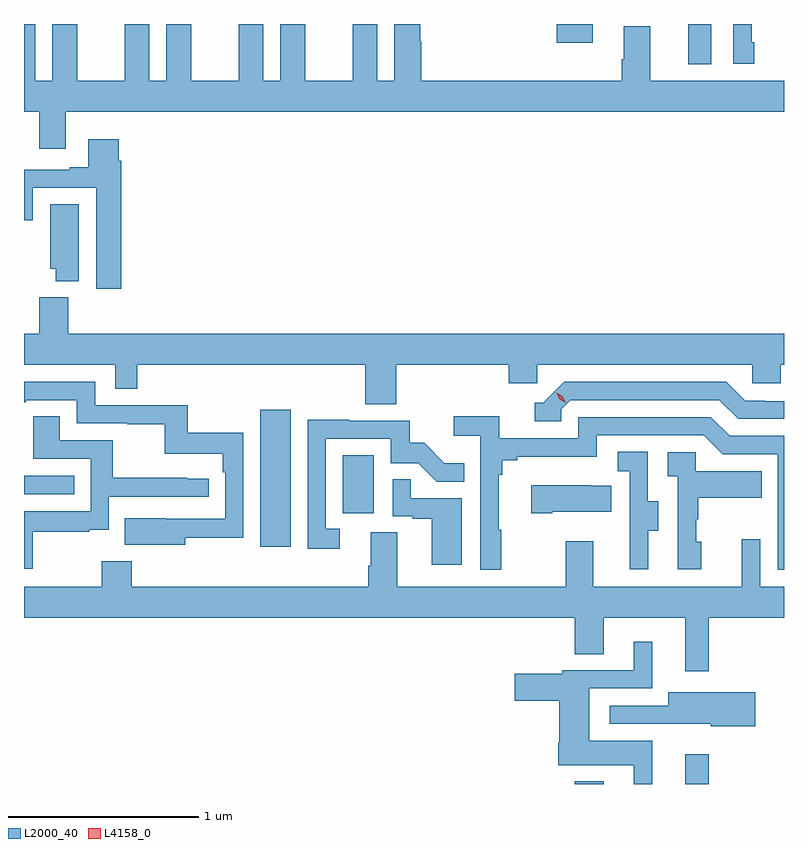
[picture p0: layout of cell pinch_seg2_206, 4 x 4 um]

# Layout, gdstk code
import gdstk
lib = gdstk.Library(unit=1e-6, precision=1e-09)
def R(c, l, rs):  # rectangles x0, y0, x1, y1
    for r in rs: c.add(gdstk.rectangle(r[:2], r[2:], *l))
def P(c, l, *ps):  # polygons
    for p in ps: c.add(gdstk.Polygon(p, *l))
L2000_40 = (2000, 40)
L4158_0 = (4158, 0)

pinch_seg2_206 = lib.new_cell('pinch_seg2_206')
R(pinch_seg2_206, L2000_40, [(976.397,653.422,976.549,653.437), (976.979,653.422,977.101,653.578), (974.741,654.672,974.902,655.393), (975.176,654.846,975.34,655.153), (973.498,654.948,973.763,655.044), (976.994,657.209,977.116,657.422), (976.303,657.324,976.492,657.422)])
P(pinch_seg2_206, L2000_40, [(973.717,656.96),(977.498,656.96),(977.498,657.124),(976.795,657.124),(976.795,657.41),(976.655,657.41),(976.655,657.236),(976.643,657.236),(976.643,657.124),(975.59,657.124),(975.59,657.329),(975.583,657.329),(975.583,657.422),(975.446,657.422),(975.446,657.124),(975.358,657.124),(975.358,657.422),(975.227,657.422),(975.227,657.124),(974.977,657.124),(974.977,657.422),(974.846,657.422),(974.846,657.124),(974.758,657.124),(974.758,657.422),(974.627,657.422),(974.627,657.124),(974.377,657.124),(974.377,657.422),(974.246,657.422),(974.246,657.124),(974.158,657.124),(974.158,657.422),(974.027,657.422),(974.027,657.124),(973.777,657.124),(973.777,657.422),(973.646,657.422),(973.646,657.124),(973.558,657.124),(973.558,657.422),(973.498,657.422),(973.498,656.96),(973.577,656.96),(973.577,656.766),(973.717,656.766)],
  [(977.341,657.325),(977.328,657.325),(977.328,657.422),(977.232,657.422),(977.232,657.213),(977.341,657.213)],
  [(974.009,656.702),(973.996,656.702),(973.996,656.815),(973.835,656.815),(973.835,656.668),(973.739,656.668),(973.739,656.655),(973.498,656.655),(973.498,656.388),(973.543,656.388),(973.543,656.559),(973.877,656.559),(973.877,656.028),(974.009,656.028)],
  [(973.786,656.474),(973.637,656.474),(973.637,656.133),(973.664,656.133),(973.664,656.069),(973.786,656.069)],
  [(975.458,655.628),(976.049,655.628),(976.049,655.53),(976.2,655.53),(976.2,655.628),(977.331,655.628),(977.331,655.53),(977.481,655.53),(977.481,655.628),(977.498,655.628),(977.498,655.792),(973.73,655.792),(973.73,655.984),(973.577,655.984),(973.577,655.792),(973.498,655.792),(973.498,655.628),(973.977,655.628),(973.977,655.501),(974.093,655.501),(974.093,655.628),(975.293,655.628),(975.293,655.42),(975.458,655.42)],
  [(976.326,655.395),(976.374,655.443),(977.157,655.443),(977.256,655.344),(977.498,655.344),(977.498,655.437),(977.4,655.437),(977.4,655.44),(977.293,655.44),(977.194,655.539),(976.341,655.539),(976.23,655.428),(976.187,655.428),(976.187,655.332),(976.326,655.332)],
  [(974.347,654.718),(974.652,654.718),(974.652,655.27),(974.359,655.27),(974.359,655.416),(973.872,655.416),(973.872,655.539),(973.498,655.539),(973.498,655.431),(973.507,655.431),(973.507,655.443),(973.776,655.443),(973.776,655.32),(974.041,655.32),(974.041,655.315),(974.238,655.315),(974.238,655.16),(974.543,655.16),(974.543,655.064),(974.556,655.064),(974.556,654.819),(974.243,654.819),(974.243,654.82),(974.029,654.82),(974.029,654.68),(974.347,654.68)],
  [(976.009,654.761),(975.997,654.761),(975.997,655.049),(976.016,655.049),(976.016,655.126),(976.093,655.126),(976.093,655.145),(976.512,655.145),(976.512,655.257),(977.076,655.257),(977.175,655.158),(977.466,655.158),(977.466,654.549),(977.498,654.549),(977.498,655.254),(977.212,655.254),(977.113,655.353),(976.416,655.353),(976.416,655.242),(975.998,655.242),(975.998,655.358),(975.759,655.358),(975.759,655.256),(975.9,655.256),(975.9,654.549),(976.009,654.549)],
  [(973.543,654.75),(973.841,654.75),(973.841,654.761),(973.944,654.761),(973.944,654.933),(974.47,654.933),(974.47,655.029),(974.357,655.029),(974.357,655.034),(973.964,655.034),(973.964,655.23),(973.687,655.23),(973.687,655.358),(973.547,655.358),(973.547,655.134),(973.848,655.134),(973.848,654.858),(973.498,654.858),(973.498,654.555),(973.543,654.555)],
  [(975.16,654.765),(975.087,654.765),(975.087,655.239),(975.429,655.239),(975.429,655.11),(975.573,655.11),(975.671,655.012),(975.815,655.012),(975.815,655.111),(975.711,655.111),(975.604,655.218),(975.528,655.218),(975.528,655.335),(975.209,655.335),(975.209,655.34),(974.991,655.34),(974.991,654.66),(975.16,654.66)],
  [(976.783,654.754),(976.837,654.754),(976.837,654.909),(976.782,654.909),(976.782,655.172),(976.623,655.172),(976.623,655.069),(976.686,655.069),(976.686,654.765),(976.685,654.765),(976.685,654.552),(976.783,654.552)],
  [(977.062,654.696),(977.037,654.696),(977.037,654.815),(977.047,654.815),(977.047,654.929),(977.381,654.929),(977.381,655.069),(977.034,655.069),(977.034,655.167),(976.887,655.167),(976.887,655.043),(976.938,655.043),(976.938,654.552),(977.062,654.552)],
  [(975.802,654.927),(975.533,654.927),(975.533,655.025),(975.438,655.025),(975.438,654.831),(975.545,654.831),(975.545,654.819),(975.644,654.819),(975.644,654.576),(975.802,654.576)],
  [(976.279,654.854),(976.589,654.854),(976.589,654.991),(976.481,654.991),(976.481,654.994),(976.167,654.994),(976.167,654.847),(976.279,654.847)],
  [(977.101,654.296),(977.498,654.296),(977.498,654.46),(977.373,654.46),(977.373,654.709),(977.276,654.709),(977.276,654.46),(976.495,654.46),(976.495,654.7),(976.348,654.7),(976.348,654.46),(975.463,654.46),(975.463,654.746),(975.323,654.746),(975.323,654.572),(975.311,654.572),(975.311,654.46),(974.066,654.46),(974.066,654.595),(973.906,654.595),(973.906,654.46),(973.498,654.46),(973.498,654.296),(976.397,654.296),(976.397,654.106),(976.549,654.106),(976.549,654.296),(976.979,654.296),(976.979,654.015),(977.101,654.015)],
  [(976.804,653.65),(976.474,653.65),(976.474,653.925),(976.804,653.925),(976.804,654.172),(976.706,654.172),(976.706,654.021),(976.332,654.021),(976.332,654.003),(976.08,654.003),(976.08,653.861),(976.316,653.861),(976.316,653.64),(976.31,653.64),(976.31,653.522),(976.706,653.522),(976.706,653.422),(976.804,653.422)],
  [(977.347,653.904),(976.889,653.904),(976.889,653.835),(976.581,653.835),(976.581,653.739),(976.893,653.739),(976.893,653.738),(977.112,653.738),(977.112,653.726),(977.347,653.726)])
P(pinch_seg2_206, L4158_0, [(976.349,655.429),(976.319,655.448),(976.303,655.481),(976.303,655.481),(976.303,655.481),(976.334,655.461),(976.349,655.429),(976.349,655.429)])

lib.write_gds('pinch_seg2_206.gds')
